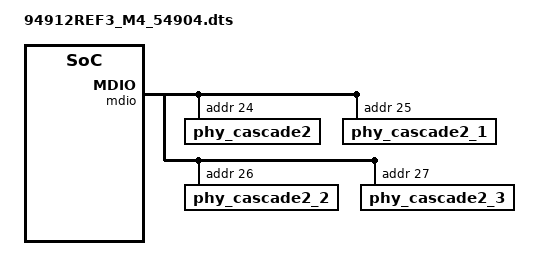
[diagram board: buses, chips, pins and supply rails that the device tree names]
#include "94912REF3_M4.dts"

&mdio {
    /* Port PHY mapping:
            port_gphy0 <----> phy_gphy0
            port_gphy1 <----> phy_gphy1
            port_gphy2 <----> phy_gphy2
            port_gphy3 <----> phy_gphy3
            port_xgphy <----> phy_serdes0   - phy_cascade0
            port_sgmii1 <---> phy_serdes1   - sfp0
            port_sgmii2 <---> phy_serdes2   - phy_cascade2
            port_sgmii2_1 <-> phy_serdes2_1 - phy_cascade2_1
            port_sgmii2_2 <-> phy_serdes2_2 - phy_cascade2_2
            port_sgmii2_3 <-> phy_serdes2_3 - phy_cascade2_3
     */
    phy_cascade2 {
        reg = <24>;
    };

    phy_cascade2_1 {
        reg = <25>;
    };

    phy_cascade2_2 {
        reg = <26>;
    };

    phy_cascade2_3 {
        reg = <27>;
    };
};


